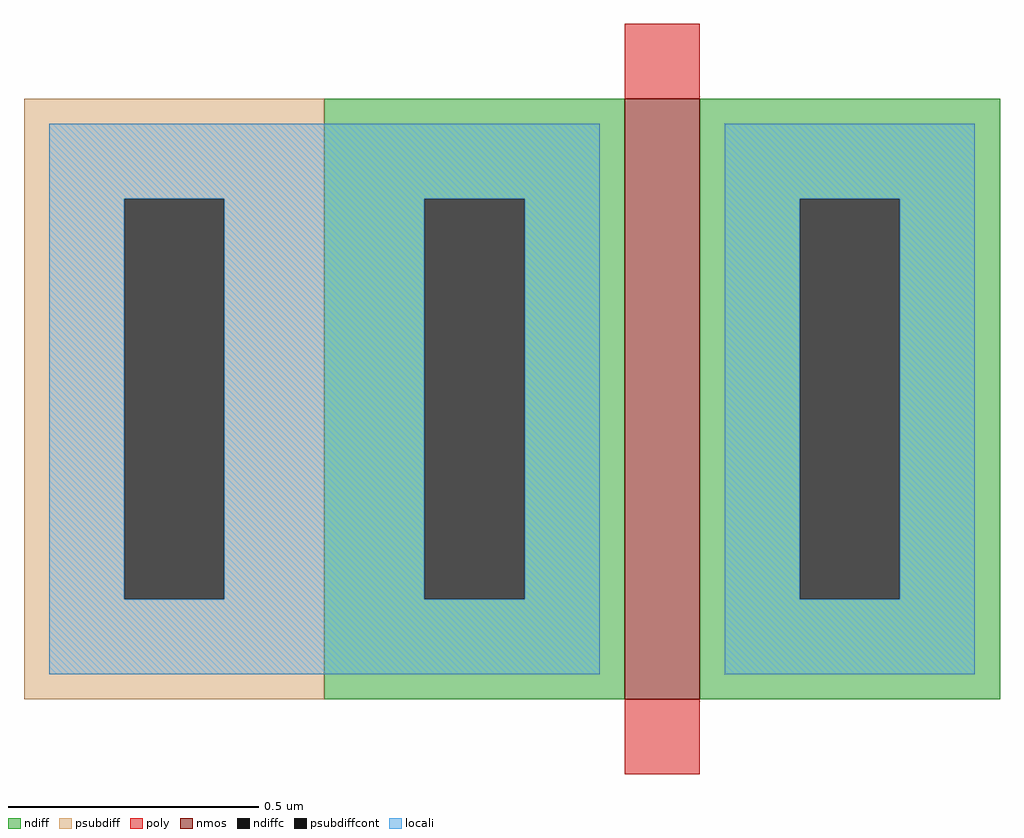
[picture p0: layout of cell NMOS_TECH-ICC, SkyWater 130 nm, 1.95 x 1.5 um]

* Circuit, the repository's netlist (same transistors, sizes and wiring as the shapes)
* SPICE3 file created from NMOS_TECH-ICC.ext - technology: sky130A

X0 a_1910_310# a_1880_280# a_1640_310# a_1640_310# sky130_fd_pr__nfet_01v8 ad=0.72 pd=3.6 as=0.72 ps=3.6 w=1.2 l=0.15

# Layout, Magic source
magic
tech sky130A
<< nmos >>
rect 940 155 955 275
<< ndiff >>
rect 880 255 940 275
rect 880 175 900 255
rect 920 175 940 255
rect 880 155 940 175
rect 955 255 1015 275
rect 955 175 975 255
rect 995 175 1015 255
rect 955 155 1015 175
<< ndiffc >>
rect 900 175 920 255
rect 975 175 995 255
<< psubdiff >>
rect 820 255 880 275
rect 820 175 840 255
rect 860 175 880 255
rect 820 155 880 175
<< psubdiffcont >>
rect 840 175 860 255
<< poly >>
rect 940 275 955 290
rect 940 140 955 155
<< locali >>
rect 825 255 935 270
rect 825 175 840 255
rect 860 175 900 255
rect 920 175 935 255
rect 825 160 935 175
rect 960 255 1010 270
rect 960 175 975 255
rect 995 175 1010 255
rect 960 160 1010 175
<< end >>
